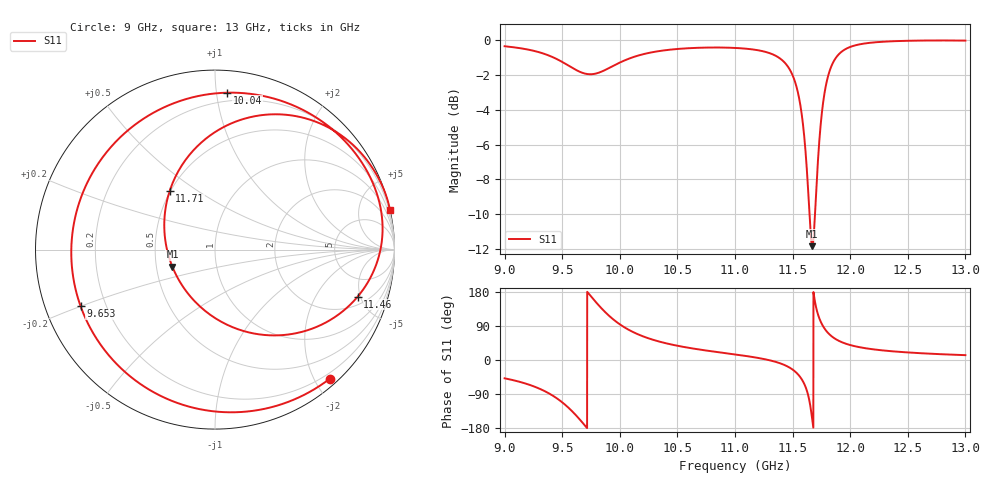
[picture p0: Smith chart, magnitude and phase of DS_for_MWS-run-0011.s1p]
! TOUCHSTONE file generated by CST DESIGN STUDIO
! Date and time: Tue Feb  4 18:32:40 2025
! Project name: C:\Work\MatlabApps\UnitCellOptimizationMatlab\CST\unitcell.cst
! Tree item: Tasks\Sweep1\SPara1\S-Parameters
! Header version: 2024
! Port assignment regex: !\s*Touchstone port\s*([0-9]+)\s*=\s*(CST MWS port|CST DES external port|CST DES block port)\s*(.+)\s* \(\"(.*)\"\)(\s*mode\s*([0-9]+))?.*
! Touchstone port assignment:
! Touchstone port 1 = CST DES external port 1 ("")
# GHz S MA R 50
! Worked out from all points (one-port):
!   4001 points, 9 GHz to 13 GHz, reference 50 ohm
!   lowest |S11| = -11.8 dB at 11.67 GHz (marker M1), VSWR 1.69, Z = 30.3 - j6.23 ohm
!   |S11| at or under -10 dB: 11.64662 GHz to 11.69441 GHz (47.79 MHz wide, 0.41 % of centre)
!   S11 on the Smith chart (normalised r, x): 9 GHz: 0.11, -2.22; 9.653 GHz: 0.11, -0.20; 10.04 GHz: 0.14, +1.07; 11.46 GHz: 2.71, -4.75; 11.71 GHz: 0.50, +0.39; 13 GHz: 0.03, +8.94
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9  0.9625 -48.3
9.268  0.9311 -71.3
9.4  0.9007 -90.8
9.5  0.8675 -111.7
9.576  0.8385 -132.2
9.653  0.8125 -157.2
9.72  0.8004 178.8
9.787  0.8025 154.6
9.89  0.8278 121.4
10  0.8638 94.2
10.044  0.8769 85.5
10.244  0.9197 57.7
10.5  0.9452 37.6
11  0.9518 14.7
11.304  0.9186 -1.0
11.463  0.8374 -18.2
11.5  0.794 -25.2
11.554  0.689 -40.4
11.604  0.5166 -64.9
11.637  0.3602 -95.2
11.671  0.2559 -158.0
11.713  0.4121 127.8
11.756  0.6271 93.7
11.803  0.7784 73.0
11.888  0.9026 52.7
12  0.9581 39.5
12.5  0.998 20.0
13  0.9992 12.8
